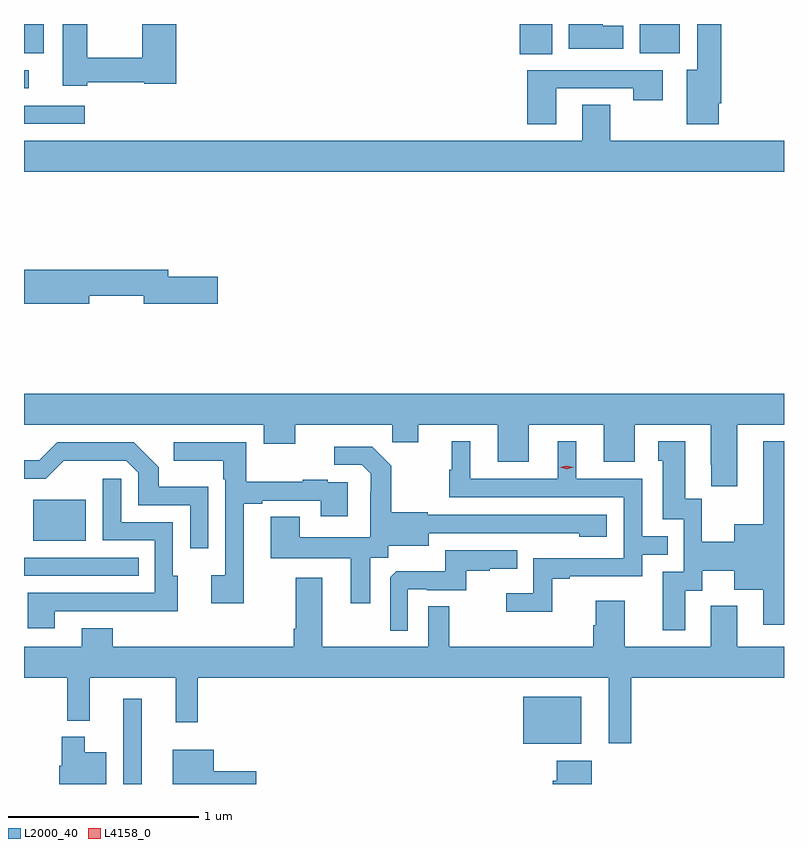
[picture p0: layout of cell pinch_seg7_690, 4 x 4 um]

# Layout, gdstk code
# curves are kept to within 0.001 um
import gdstk
lib = gdstk.Library(unit=1e-6, precision=1e-09)
def R(c, l, rs):  # rectangles x0, y0, x1, y1
    for r in rs: c.add(gdstk.rectangle(r[:2], r[2:], *l))
def P(c, l, *ps):  # polygons
    for p in ps: c.add(gdstk.Polygon(p, *l))
L2000_40 = (2000, 40)
L4158_0 = (4158, 0)

pinch_seg7_690 = lib.new_cell('pinch_seg7_690')
R(pinch_seg7_690, L2000_40, [(340.839,1032.026,340.936,1032.475), (342.944,1032.239,343.249,1032.484), (340.316,1033.122,340.919,1033.218), (340.364,1033.307,340.642,1033.522), (340.316,1035.501,340.636,1035.597), (340.316,1035.687,340.342,1035.783), (342.926,1035.868,343.096,1036.026), (340.316,1035.872,340.42,1036.026), (343.556,1035.872,343.768,1036.026)])
P(pinch_seg7_690, L2000_40, [(343.972,1035.61),(343.985,1035.61),(343.985,1036.026),(343.859,1036.026),(343.859,1035.784),(343.805,1035.784),(343.805,1035.498),(343.972,1035.498)],
  [(340.65,1035.72),(340.95,1035.72),(340.95,1035.712),(341.117,1035.712),(341.117,1036.026),(340.939,1036.026),(340.939,1035.848),(340.65,1035.848),(340.65,1036.026),(340.52,1036.026),(340.52,1035.701),(340.65,1035.701)],
  [(343.471,1036.018),(343.363,1036.018),(343.363,1036.026),(343.184,1036.026),(343.184,1035.896),(343.471,1035.896)],
  [(343.117,1035.687),(343.522,1035.687),(343.522,1035.624),(343.678,1035.624),(343.678,1035.783),(342.965,1035.783),(342.965,1035.498),(343.117,1035.498)],
  [(344.316,1035.412),(343.401,1035.412),(343.401,1035.602),(343.253,1035.602),(343.253,1035.412),(340.316,1035.412),(340.316,1035.248),(344.316,1035.248)],
  [(340.66,1034.596),(340.946,1034.596),(340.946,1034.554),(341.335,1034.554),(341.335,1034.696),(341.074,1034.696),(341.074,1034.732),(340.316,1034.732),(340.316,1034.554),(340.66,1034.554)],
  [(340.316,1033.916),(341.579,1033.916),(341.579,1033.817),(341.743,1033.817),(341.743,1033.916),(342.253,1033.916),(342.253,1033.826),(342.391,1033.826),(342.391,1033.916),(342.809,1033.916),(342.809,1033.722),(342.973,1033.722),(342.973,1033.916),(343.367,1033.916),(343.367,1033.722),(343.531,1033.722),(343.531,1033.916),(343.931,1033.916),(343.931,1033.705),(343.932,1033.705),(343.932,1033.593),(344.071,1033.593),(344.071,1033.916),(344.316,1033.916),(344.316,1034.08),(340.316,1034.08)],
  [(343.795,1033.042),(343.885,1033.042),(343.885,1033.148),(344.054,1033.148),(344.054,1033.049),(344.207,1033.049),(344.207,1032.864),(344.316,1032.864),(344.316,1033.831),(344.207,1033.831),(344.207,1033.393),(344.054,1033.393),(344.054,1033.3),(343.884,1033.3),(343.884,1033.527),(343.795,1033.527),(343.795,1033.831),(343.655,1033.831),(343.655,1033.728),(343.679,1033.728),(343.679,1033.419),(343.788,1033.419),(343.788,1033.143),(343.679,1033.143),(343.679,1032.834),(343.795,1032.834)],
  [(343.095,1033.107),(343.189,1033.107),(343.189,1033.119),(343.569,1033.119),(343.569,1033.233),(343.703,1033.233),(343.703,1033.329),(343.569,1033.329),(343.569,1033.632),(343.222,1033.632),(343.222,1033.831),(343.124,1033.831),(343.124,1033.632),(342.664,1033.632),(342.664,1033.831),(342.566,1033.831),(342.566,1033.68),(342.555,1033.68),(342.555,1033.536),(343.473,1033.536),(343.473,1033.215),(342.996,1033.215),(342.996,1033.03),(342.855,1033.03),(342.855,1032.932),(343.095,1032.932)],
  [(341.473,1033.5),(341.569,1033.5),(341.569,1033.518),(341.879,1033.518),(341.879,1033.434),(342.019,1033.434),(342.019,1033.614),(341.915,1033.614),(341.915,1033.627),(341.783,1033.627),(341.783,1033.616),(341.485,1033.616),(341.485,1033.824),(341.103,1033.824),(341.103,1033.727),(341.364,1033.727),(341.364,1033.631),(341.376,1033.631),(341.376,1033.126),(341.301,1033.126),(341.301,1032.978),(341.473,1032.978)],
  [(341.286,1033.591),(341.025,1033.591),(341.025,1033.694),(340.894,1033.824),(340.491,1033.824),(340.397,1033.73),(340.316,1033.73),(340.316,1033.632),(340.431,1033.632),(340.526,1033.727),(340.854,1033.728),(340.917,1033.665),(340.917,1033.494),(341.19,1033.494),(341.19,1033.266),(341.286,1033.266)],
  [(342.139,1033.216),(342.234,1033.216),(342.234,1033.28),(342.445,1033.28),(342.445,1033.347),(343.239,1033.346),(343.239,1033.328),(343.384,1033.328),(343.384,1033.443),(342.441,1033.443),(342.441,1033.456),(342.249,1033.456),(342.249,1033.701),(342.149,1033.801),(341.949,1033.801),(341.949,1033.707),(342.093,1033.707),(342.14,1033.66),(342.14,1033.565),(342.138,1033.565),(342.138,1033.324),(341.767,1033.324),(341.767,1033.433),(341.615,1033.433),(341.615,1033.214),(342.035,1033.214),(342.035,1032.978),(342.139,1032.978)],
  [(340.477,1032.936),(340.907,1032.936),(340.907,1032.935),(341.125,1032.935),(341.125,1033.122),(341.1,1033.122),(341.1,1033.404),(340.827,1033.404),(340.827,1033.632),(340.731,1033.632),(340.731,1033.308),(341.004,1033.308),(341.004,1033.032),(340.337,1033.032),(340.337,1032.846),(340.477,1032.846)],
  [(342.336,1033.05),(342.436,1033.05),(342.436,1033.047),(342.644,1033.047),(342.644,1033.149),(342.767,1033.149),(342.767,1033.16),(342.911,1033.16),(342.911,1033.257),(342.534,1033.257),(342.534,1033.145),(342.275,1033.145),(342.243,1033.113),(342.243,1032.833),(342.336,1032.833)],
  [(340.619,1032.748),(340.316,1032.748),(340.316,1032.584),(340.543,1032.584),(340.543,1032.359),(340.661,1032.359),(340.661,1032.584),(341.114,1032.584),(341.114,1032.351),(341.231,1032.351),(341.231,1032.584),(343.394,1032.584),(343.394,1032.24),(343.511,1032.24),(343.511,1032.584),(344.316,1032.584),(344.316,1032.748),(344.071,1032.748),(344.071,1032.964),(343.931,1032.964),(343.931,1032.748),(343.477,1032.748),(343.477,1032.991),(343.325,1032.991),(343.325,1032.861),(343.313,1032.861),(343.313,1032.748),(342.553,1032.748),(342.553,1032.962),(342.444,1032.962),(342.444,1032.748),(341.887,1032.748),(341.887,1033.111),(341.747,1033.111),(341.747,1032.844),(341.735,1032.844),(341.735,1032.748),(340.783,1032.748),(340.783,1032.847),(340.619,1032.847)],
  [(340.75,1032.193),(340.636,1032.193),(340.636,1032.274),(340.514,1032.274),(340.514,1032.123),(340.502,1032.123),(340.502,1032.026),(340.75,1032.026)],
  [(341.539,1032.092),(341.314,1032.092),(341.314,1032.205),(341.099,1032.205),(341.099,1032.026),(341.539,1032.026)],
  [(343.303,1032.148),(343.119,1032.148),(343.119,1032.044),(343.099,1032.044),(343.099,1032.026),(343.303,1032.026)])
P(pinch_seg7_690, L4158_0, [(343.173,1033.682),(343.137,1033.692),(343.137,1033.692),(343.137,1033.692),(343.173,1033.702),(343.208,1033.692),(343.209,1033.692),(343.208,1033.692)])

lib.write_gds('pinch_seg7_690.gds')
